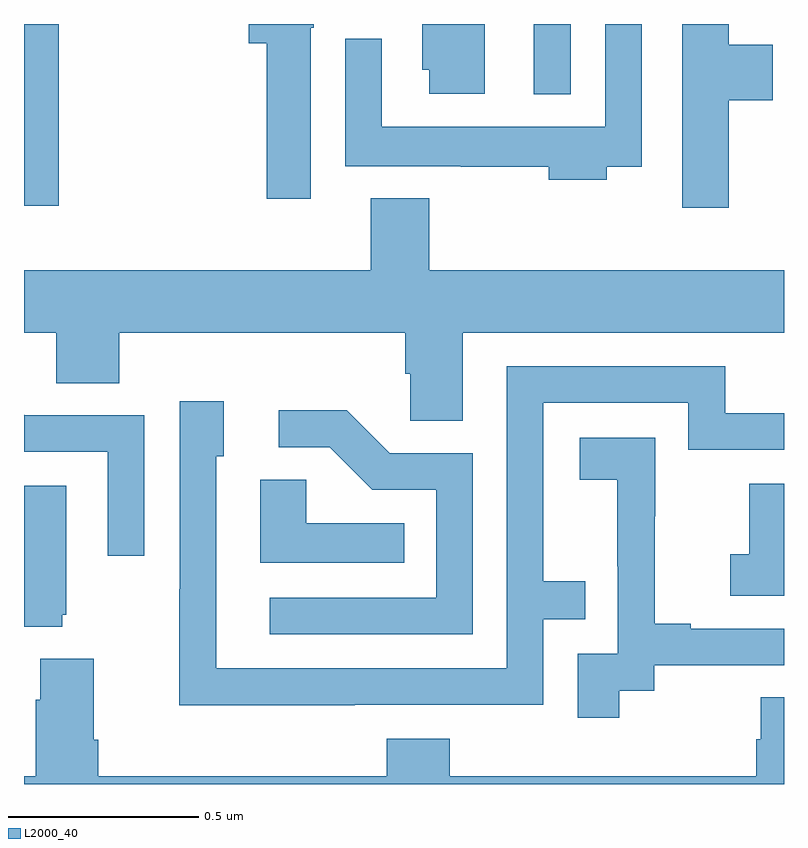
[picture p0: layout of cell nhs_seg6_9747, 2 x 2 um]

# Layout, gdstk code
import gdstk
lib = gdstk.Library(unit=1e-6, precision=1e-09)
def R(c, l, rs):  # rectangles x0, y0, x1, y1
    for r in rs: c.add(gdstk.rectangle(r[:2], r[2:], *l))
def P(c, l, *ps):  # polygons
    for p in ps: c.add(gdstk.Polygon(p, *l))
L2000_40 = (2000, 40)

nhs_seg6_9747 = lib.new_cell('nhs_seg6_9747')
R(nhs_seg6_9747, L2000_40, [(238,929.022,238.091,929.5), (239.342,929.315,239.439,929.5)])
P(nhs_seg6_9747, L2000_40, [(239.212,929.5),(239.048,929.5),(239.048,929.379),(239.066,929.379),(239.066,929.316),(239.212,929.316)],
  [(238.755,929.49),(238.762,929.49),(238.762,929.5),(238.592,929.5),(238.592,929.45),(238.639,929.45),(238.639,929.04),(238.755,929.04)],
  [(239.854,929.299),(239.971,929.299),(239.971,929.446),(239.854,929.446),(239.854,929.5),(239.732,929.5),(239.732,929.016),(239.854,929.016)],
  [(239.533,929.124),(239.625,929.124),(239.625,929.5),(239.529,929.5),(239.529,929.23),(238.941,929.23),(238.941,929.461),(238.845,929.461),(238.845,929.126),(239.149,929.126),(239.149,929.124),(239.381,929.124),(239.381,929.09),(239.533,929.09)],
  [(239.155,928.688),(240,928.688),(240,928.852),(239.066,928.852),(239.066,929.041),(238.913,929.041),(238.913,928.852),(238,928.852),(238,928.688),(238.085,928.688),(238.085,928.555),(238.25,928.555),(238.25,928.688),(239.003,928.688),(239.003,928.579),(239.016,928.579),(239.016,928.456),(239.155,928.456)],
  [(238.871,927.708),(239.367,927.708),(239.367,927.933),(239.477,927.933),(239.477,928.034),(239.367,928.034),(239.367,928.503),(239.748,928.503),(239.748,928.38),(240,928.38),(240,928.476),(239.845,928.476),(239.845,928.599),(239.271,928.599),(239.271,927.804),(238.506,927.804),(238.506,928.362),(238.525,928.362),(238.525,928.507),(238.41,928.507),(238.41,928.013),(238.408,928.013),(238.408,927.707),(238.871,927.707)],
  [(239.181,928.371),(238.962,928.371),(238.849,928.484),(238.671,928.484),(238.671,928.386),(238.805,928.386),(238.916,928.275),(239.085,928.275),(239.085,927.99),(238.647,927.99),(238.647,927.894),(239.181,927.894)],
  [(238.317,928.47),(238.001,928.47),(238.001,928.472),(238,928.472),(238,928.374),(238.221,928.374),(238.221,928.101),(238.317,928.101)],
  [(239.566,927.745),(239.658,927.745),(239.658,927.813),(240,927.813),(240,927.909),(239.755,927.909),(239.755,927.922),(239.66,927.922),(239.66,928.205),(239.661,928.205),(239.661,928.411),(239.463,928.411),(239.463,928.301),(239.561,928.301),(239.561,928.073),(239.562,928.073),(239.562,927.843),(239.457,927.843),(239.457,927.675),(239.566,927.675)],
  [(239,928.186),(238.743,928.186),(238.743,928.301),(238.622,928.301),(238.622,928.082),(239,928.082)],
  [(240,928.29),(239.908,928.29),(239.908,928.105),(239.859,928.105),(239.859,927.996),(240,927.996)],
  [(238.1,927.945),(238.111,927.945),(238.111,928.285),(238,928.285),(238,927.914),(238.1,927.914)],
  [(240,927.728),(239.939,927.728),(239.939,927.618),(239.927,927.618),(239.927,927.52),(239.12,927.52),(239.12,927.619),(238.955,927.619),(238.955,927.52),(238.196,927.52),(238.196,927.616),(238.183,927.616),(238.183,927.829),(238.043,927.829),(238.043,927.722),(238.031,927.722),(238.031,927.52),(238,927.52),(238,927.5),(240,927.5)])

lib.write_gds('nhs_seg6_9747.gds')
